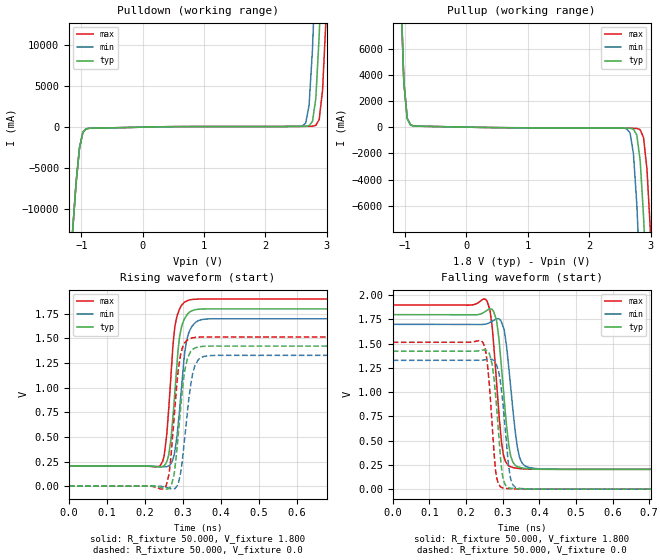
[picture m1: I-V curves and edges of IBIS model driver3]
| IBIS file created by Layout Workbench Version 24.1.0.10141.541387   000
| Cadence Design Systems, Inc. 2011
| Simulator:  ****** PrimeSim HSPICE -- T-2022.06 win64 (May 20 2022 7637141)
[IBIS ver] 7.1
[File name]  invchain_test_0615_v5_v2.ibs
[File Rev]  1.0
[Date]   Jun 15,2021
|   Component invchain
[Component] invchain
[Manufacturer] Manufacturer name
[Package]
| variable   typ   min   max
R_pkg   0.0   0.0   0.0
L_pkg   0.0H   0.0H   0.0H
C_pkg   0.0F   0.0F   0.0F
[Pin]  signal_name   model_name   R_pin   L_pin   C_pin
PAD   PAD   driver3
|IN   IN   dummy
VCCQ   VCCQ   Power
VSSQ   VSSQ   Gnd
| Models and submodels in the file (1): driver3 (Output)
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|   Model driver3
[Model] driver3
Model_type Output
Polarity   Non-Inverting
Enable   Active-High
Vmeas =  0.900V
C_comp   0.468pF   NA   NA
[Temperature Range]   27.000   27.000   27.000
[Voltage Range]   1.800V   1.700V   1.900V
[C Comp Corner]
C_comp   0.468pF   NA   NA
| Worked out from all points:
|   slope of the pulldown table from 0 to 0.27 V, typ, clamps not added: 6.8 ohm
|   slope of the pullup table from 0 to 0.27 V, typ, clamps not added: 12.6 ohm
|   rising waveform, R_fixture 50.000, V_fixture 1.800: 20-80 % time 20.5ps typ, 22.3ps min, 19.3ps max; typ from 0.204 V to 1.8 V
|   rising waveform, R_fixture 50.000, V_fixture 0.0: 20-80 % time 21.6ps typ, 23.3ps min, 20.4ps max; typ from 0 V to 1.42 V
|   falling waveform, R_fixture 50.000, V_fixture 1.800: 20-80 % time 22.9ps typ, 24.8ps min, 21.3ps max; typ from 1.8 V to 0.204 V
|   falling waveform, R_fixture 50.000, V_fixture 0.0: 20-80 % time 18.5ps typ, 20.2ps min, 17.6ps max; typ from 1.42 V to 0 V
[Pulldown]
|Voltage   I(typ)   I(min)   I(max)
-1.8V     -87.88A    -87.88A    -87.88A
-1.14V    -12.56A    -12.55A    -12.56A
-1.03V    -2.573A    -2.57A     -2.577A
-920mV    -199.6mA   -194.1mA   -204.7mA
2.6V      93.6mA     140.8mA    96.21mA
2.71V     174.4mA    2.664A     103.8mA
2.765V    684.3mA    9.453A     119.2mA
2.82V     3.512A     19.87A     219.2mA
2.875V    11.22A     30.52A     941.1mA
2.93V     21.82A     41.16A     4.539A
2.985V    32.46A     51.8A      13.12A
3.6V      151.5A     170.8A     132.1A
[Pullup]
|Voltage   I(typ)   I(min)   I(max)
-1.8V     151.4A     151.4A     151.4A
-1.075V   11.17A     11.17A     11.17A
-965mV    666.5mA    664.9mA    668mA
-910mV    159.3mA    157.6mA    160.7mA
2.61V     -77.35mA   -124.3mA   -78.87mA
2.72V     -154.5mA   -2.028A    -85.61mA
2.775V    -598.8mA   -5.904A    -100.3mA
2.83V     -2.569A    -11.47A    -194.6mA
2.885V    -6.827A    -17.72A    -805mA
2.94V     -12.6A     -24A       -3.192A
2.995V    -18.87A    -30.28A    -7.799A
3.6V      -87.92A    -99.33A    -76.52A
[Ramp]
| variable   typ   min   max
dV/dt_r   0.853/22.262p   0.797/24.175p   0.909/21.679p
dV/dt_f   0.957/23.230p   0.897/25.929p   1.017/22.209p
R_load = 50.000
[Initial_Delay]  | This keyword provides information on removable delay(s)
|  time table   typ   min   max
   V-T   0.203n   0.214n   0.194n
   I-T   0.0   0.0   0.0
[Rising Waveform]
R_fixture= 50.000
V_fixture= 1.800
V_fixture_min= 1.700
V_fixture_max= 1.900
|time   V(typ)   V(min)   V(max)
0s        204.2mV    204.7mV    204.8mV
240ps     195.5mV    197.3mV    206.1mV
252ps     211.6mV    195.8mV    338.3mV
263ps     318.6mV    205.1mV    785.6mV
280ps     1.004V     379.3mV    1.639V
292ps     1.529V     794.1mV    1.804V
305ps     1.703V     1.354V     1.869V
318ps     1.768V     1.578V     1.892V
377ps     1.8V       1.7V       1.9V
1.7ns     1.8V       1.7V       1.9V
[Rising Waveform]
R_fixture= 50.000
V_fixture= 0.0
V_fixture_min= 0.0
V_fixture_max= 0.0
|time   V(typ)   V(min)   V(max)
0s        13.08nV    12.76nV    13.48nV
251ps     -25.67mV   -7.077mV   -21.78mV
264ps     -20.07mV   -22.42mV   125.7mV
277ps     115.2mV    -28.04mV   689.9mV
288ps     518.4mV    21.95mV    1.178V
306ps     1.19V      519.4mV    1.46V
325ps     1.385V     1.123V     1.506V
342ps     1.415V     1.289V     1.514V
382ps     1.422V     1.328V     1.515V
1.7ns     1.422V     1.328V     1.515V
[Falling Waveform]
R_fixture= 50.000
V_fixture= 1.800
V_fixture_min= 1.700
V_fixture_max= 1.900
|time   V(typ)   V(min)   V(max)
0s        1.8V       1.7V       1.9V
257ps     1.844V     1.706V     1.94V
271ps     1.854V     1.731V     1.692V
283ps     1.746V     1.757V     1.114V
304ps     930.7mV    1.649V     329.6mV
316ps     471.7mV    1.284V     241.4mV
327ps     286mV      854mV      224.3mV
346ps     225.5mV    329.3mV    212.4mV
382ps     207.7mV    216.9mV    205.9mV
1.7ns     204.2mV    204.7mV    204.8mV
[Falling Waveform]
R_fixture= 50.000
V_fixture= 0.0
V_fixture_min= 0.0
V_fixture_max= 0.0
|time   V(typ)   V(min)   V(max)
0s        1.422V     1.328V     1.515V
247ps     1.436V     1.332V     1.509V
258ps     1.427V     1.337V     1.311V
271ps     1.294V     1.338V     684.2mV
282ps     917.9mV    1.295V     156mV
289ps     570.2mV    1.214V     51.42mV
299ps     151.2mV    944mV      14.39mV
320ps     11.34mV    138.6mV    4.707mV
339ps     4.32mV     12.67mV    1.777mV
1.7ns     13nV       12.54nV    13.45nV
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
